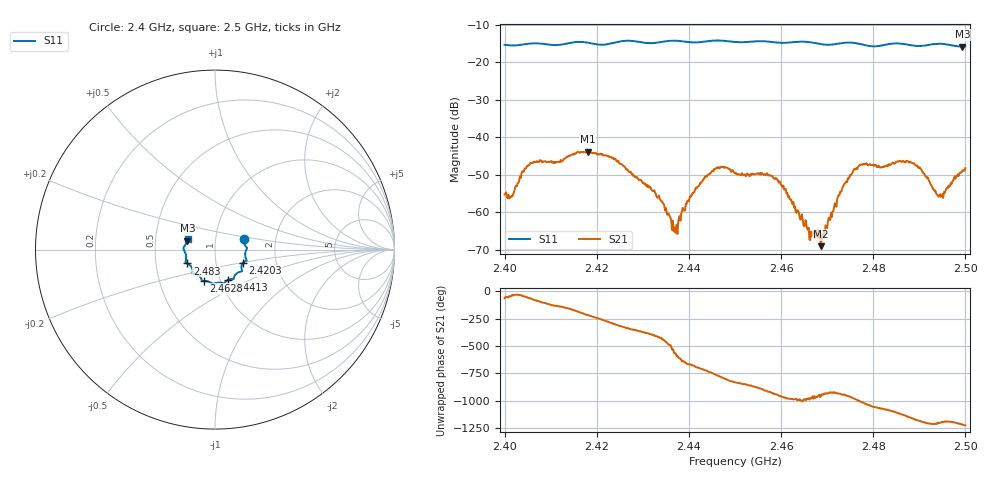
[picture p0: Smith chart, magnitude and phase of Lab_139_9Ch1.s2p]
# Hz S RI R 50
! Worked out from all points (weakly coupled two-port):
!   601 points, 2.4 GHz to 2.5 GHz, reference 50 ohm
!   highest |S21| = -43.90 dB at 2.418 GHz (marker M1); lowest = -69.1 dB at 2.4687 GHz (marker M2)
!   lowest |S11| = -15.8 dB at 2.4993 GHz (marker M3), VSWR 1.39, Z = 36.5 + j3.71 ohm
!   |S11| at or under -10 dB: start of sweep to end of sweep
!   S12 and S22 are empty: the file has one direction only
!   S11 on the Smith chart (normalised r, x): 2.4 GHz: 1.37, +0.16; 2.4203 GHz: 1.35, -0.21; 2.4413 GHz: 1.09, -0.38; 2.4628 GHz: 0.83, -0.30; 2.483 GHz: 0.72, -0.11; 2.5 GHz: 0.73, +0.09
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2.4e9  0.1608 0.057  0.000748 -0.00156  0 0  0 0
2.4015e9  0.1624 0.0405  0.00121 -0.00111  0 0  0 0
2.405833e9  0.1776 0.0104  0.00161 -0.00422  0 0  0 0
2.416667e9  0.1762 -0.0613  -0.00605 0.00195  0 0  0 0
2.418e9  0.1713 -0.0635  -0.00509 0.00385  0 0  0 0
2.420333e9  0.1553 -0.0742  -0.00228 0.0055  0 0  0 0
2.433333e9  0.1081 -0.1483  0.000795 -0.00138  0 0  0 0
2.437167e9  0.1028 -0.1641  -0.000449 0.000281  0 0  0 0
2.441333e9  0.0744 -0.168  0.00162 0.00113  0 0  0 0
2.446e9  0.0498 -0.1885  0.00271 -0.00282  0 0  0 0
2.45e9  0.0293 -0.1839  -0.00113 -0.00309  0 0  0 0
2.457833e9  -0.0216 -0.1853  -0.00281 0.00123  0 0  0 0
2.462833e9  -0.0629 -0.1748  -8.08e-05 0.00115  0 0  0 0
2.466667e9  -0.0742 -0.1676  -9.31e-05 0.000473  0 0  0 0
2.468667e9  -0.082 -0.1535  -0.000209 0.000283  0 0  0 0
2.475833e9  -0.1252 -0.131  -0.000735 0.00366  0 0  0 0
2.483e9  -0.1549 -0.077  0.0042 -0.000262  0 0  0 0
2.483333e9  -0.1569 -0.0759  0.00432 -0.000416  0 0  0 0
2.489e9  -0.1606 -0.0411  0.000188 -0.00435  0 0  0 0
2.494667e9  -0.176 0.00945  -0.000753 -0.00141  0 0  0 0
2.499333e9  -0.1541 0.0495  -0.00259 -0.00248  0 0  0 0
2.5e9  -0.1524 0.0587  -0.00313 -0.00226  0 0  0 0
